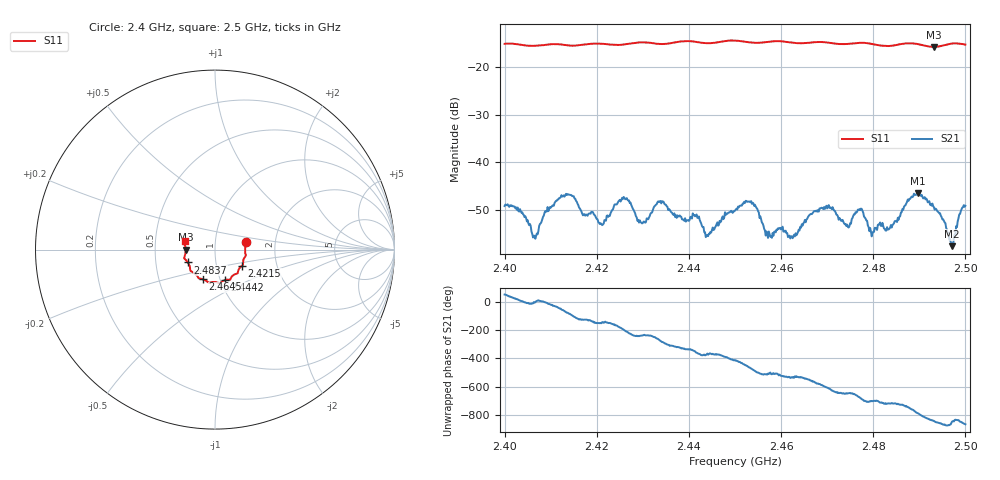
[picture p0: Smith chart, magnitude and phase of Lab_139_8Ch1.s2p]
# Hz S RI R 50
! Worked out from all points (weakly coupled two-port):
!   601 points, 2.4 GHz to 2.5 GHz, reference 50 ohm
!   highest |S21| = -46.45 dB at 2.4897 GHz (marker M1); lowest = -57.7 dB at 2.497 GHz (marker M2)
!   lowest |S11| = -15.7 dB at 2.4932 GHz (marker M3), VSWR 1.39, Z = 36 - j0.0588 ohm
!   |S11| at or under -10 dB: start of sweep to end of sweep
!   S12 and S22 are empty: the file has one direction only
!   S11 on the Smith chart (normalised r, x): 2.4 GHz: 1.41, +0.12; 2.4215 GHz: 1.33, -0.25; 2.4442 GHz: 1.05, -0.37; 2.4645 GHz: 0.83, -0.29; 2.4837 GHz: 0.73, -0.11; 2.5 GHz: 0.71, +0.07
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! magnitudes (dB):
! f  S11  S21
! 2.4 GHz  -15.1  -49.2
! 2.4065 GHz  -15.5  -55.5
! 2.4123 GHz  -15.2  -46.9
! 2.4167 GHz  -15.3  -50.3
! 2.4215 GHz  -15.1  -52.9
! 2.4255 GHz  -15.3  -47.5
! 2.43 GHz  -14.8  -52.8
! 2.4333 GHz  -15.1  -48.2
! 2.4442 GHz  -15.0  -55.5
! 2.45 GHz  -14.4  -50.2
! 2.4538 GHz  -14.8  -48.5
! 2.4575 GHz  -14.6  -55.1
! 2.4645 GHz  -15.0  -53.0
! 2.4667 GHz  -14.8  -50.9
! 2.4743 GHz  -15.1  -53.1
! 2.4772 GHz  -14.9  -50.1
! 2.4833 GHz  -15.6  -54.1
! 2.4837 GHz  -15.6  -53.7
! 2.4897 GHz  -15.1  -46.4
! 2.4932 GHz  -15.7  -49.4
! 2.497 GHz  -15.0  -57.7
! 2.5 GHz  -15.3  -49.2
